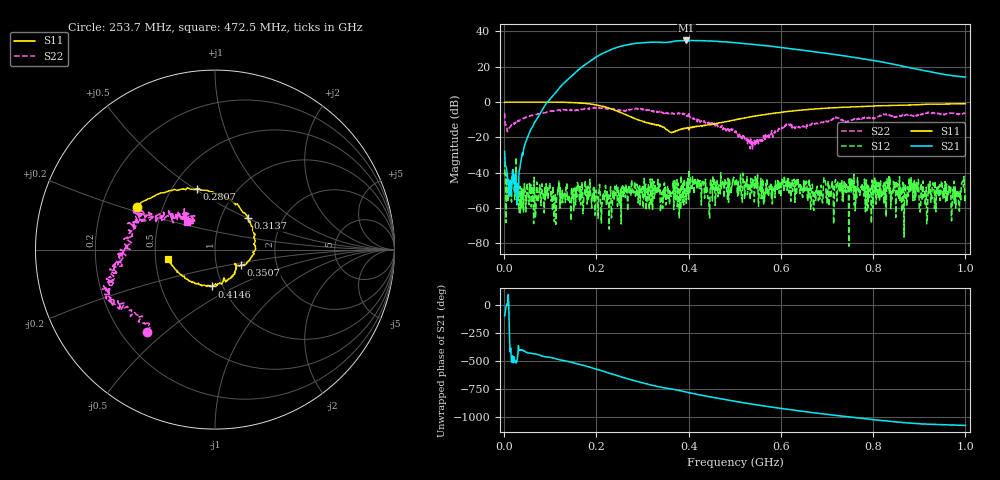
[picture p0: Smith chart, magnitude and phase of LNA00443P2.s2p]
! Created with skrf 1.9.0 (http://scikit-rf.org).
# Hz S RI R 50.0
!freq ReS11 ImS11 ReS21 ImS21 ReS12 ImS12 ReS22 ImS22
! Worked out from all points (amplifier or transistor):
!   1001 points, 1 MHz to 1 GHz, reference 50 ohm
!   highest |S21| = 34.9 dB at 394.6 MHz (marker M1)
!   |S21| within 3 dB of that: 257.5 MHz to 568.4 MHz (310.9 MHz wide, 75.3 % of centre)
!   unconditionally stable (mu >= 1): 26.6 MHz to 57.36 MHz; 196.1 MHz to 400.4 MHz; 400.7 MHz to end of sweep (the widest 3 of 29)
!   at 166.8 MHz: K = 0.95, MSG = 34.6 dB, |S12| = -49.7 dB
!   at 500.5 MHz: K = 2.13, MAG = 34.1 dB, |S12| = -46.7 dB
!   at 1 GHz: K = 6.36, MAG = 22.5 dB, |S12| = -52.8 dB
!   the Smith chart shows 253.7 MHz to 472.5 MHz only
!   S11 on the Smith chart (normalised r, x): 253.7 MHz: 0.36, +0.23; 280.7 MHz: 0.66, +0.51; 313.7 MHz: 1.34, +0.50; 350.6 MHz: 1.32, -0.24; 414.6 MHz: 0.89, -0.38; 472.5 MHz: 0.58, -0.06
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1000000  0.9784 -0.000979  -0.00734 -0.0399  -0.0175 0.0119  0.3517 0.3455
1.08892e8  0.5324 -0.8424  -0.7825 -1.493  0.000406 6.5e-05  0.4196 -0.3637
1.67833e8  -0.2093 -0.9083  -9.657 -0.6562  -1.05e-05 0.0022  0.04 -0.6234
2.13787e8  -0.6729 -0.346  -15.01 18.43  -0.00191 -0.0015  -0.2242 -0.6478
2.32768e8  -0.6379 -0.0254  -7.491 30.03  0.000337 -0.000405  -0.2622 -0.5678
2.53747e8  -0.4336 0.24  8.088 37.06  -7.73e-05 -0.000347  -0.3771 -0.4582
2.8072e8  -0.1015 0.3389  31.5 32.13  -0.00221 0.00158  -0.57 -0.3094
3.13687e8  0.1829 0.1743  48.55 7.775  -0.00181 0.00159  -0.5642 -0.1501
3.34666e8  0.2229 -0.00203  48.6 -9.216  -0.00152 0.0027  -0.5194 -0.0351
3.5065e8  0.1466 -0.0871  44.87 -18.61  0.00123 3.74e-05  -0.4883 0.0546
3.72628e8  0.1212 -0.0944  42.26 -32.9  -0.00335 0.00384  -0.4385 0.1562
3.94606e8  0.0738 -0.1658  29.05 -47.17  0.00116 0.000719  -0.3911 0.1807
4.14586e8  -0.0182 -0.2051  13.92 -53.28  0.00164 0.00674  -0.2535 0.1823
4.41559e8  -0.1453 -0.1739  -6.838 -53.49  -0.00108 0.00155  -0.1571 0.1854
4.72528e8  -0.262 -0.05  -25.59 -43.97  0.000204 0.006  -0.1549 0.1524
5.005e8  -0.2945 0.1001  -37.16 -30.63  0.00215 -0.00409  -0.1036 0.1029
5.4046e8  -0.2411 0.3121  -41.61 -9.551  0.00454 -0.00168  -0.0705 0.0155
5.88412e8  -0.0531 0.4894  -35.02 10.62  0.00566 -0.00163  -0.1159 -0.0806
6.67333e8  0.3266 0.5357  -13.43 23.37  -0.00373 -0.0018  -0.2438 -0.0598
7.53247e8  0.6273 0.3698  3.879 18.4  -0.00663 0.000315  -0.3127 0.00506
8.34166e8  0.7836 0.1397  9.146 8.488  -0.00674 -0.00398  -0.426 0.0582
1e9  0.8125 -0.3913  5.111 0.456  -0.00186 -0.00135  -0.2425 0.4132
